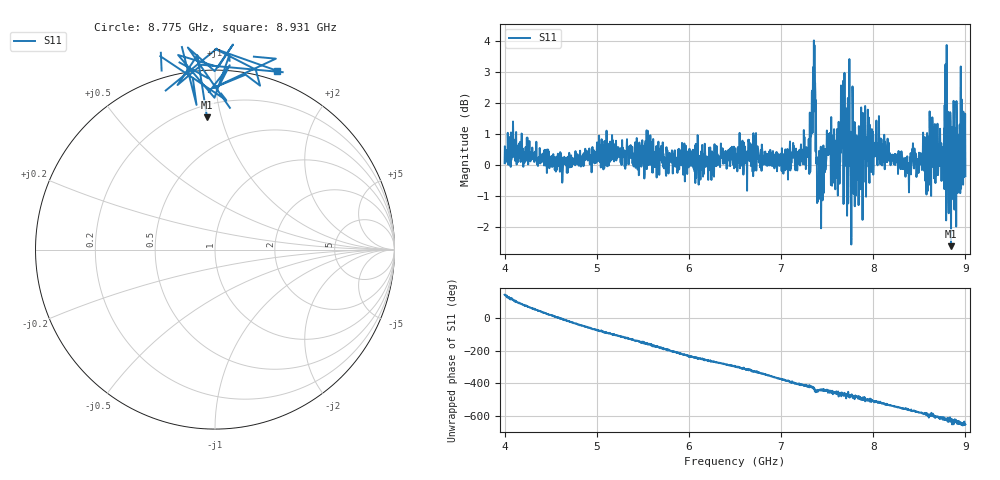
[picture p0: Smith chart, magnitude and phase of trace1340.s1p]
! Created with skrf 1.8.0 (http://scikit-rf.org).
# Hz S RI R 50.0
!freq ReS11 ImS11
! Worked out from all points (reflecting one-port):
!   1601 points, 4 GHz to 9 GHz, reference 50 ohm
!   lowest |S11| = -2.6 dB at 8.844 GHz (marker M1), VSWR 6.64, Z = 13.9 + j45.1 ohm
!   phase of S11 starts at 143 deg and turns -794 deg over the sweep
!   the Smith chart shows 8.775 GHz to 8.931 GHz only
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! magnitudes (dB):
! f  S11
! 4 GHz  0.0
! 4.1 GHz  0.5
! 4.625 GHz  -0.6
! 5.25 GHz  0.5
! 5.875 GHz  -0.3
! 6.5 GHz  0.2
! 7.125 GHz  0.3
! 7.294 GHz  0.3
! 7.353 GHz  1.7
! 7.409 GHz  -1.1
! 7.519 GHz  0.4
! 7.562 GHz  0.1
! 7.609 GHz  0.7
! 7.672 GHz  2.7
! 7.703 GHz  0.0
! 7.75 GHz  0.7
! 7.784 GHz  0.4
! 7.8 GHz  -1.3
! 7.922 GHz  -1.0
! 8.375 GHz  -0.3
! 8.534 GHz  0.1
! 8.584 GHz  1.0
! 8.631 GHz  1.1
! 8.728 GHz  0.4
! 8.788 GHz  -0.3
! 8.844 GHz  -2.6
! 8.972 GHz  0.9
! 9 GHz  -0.4
